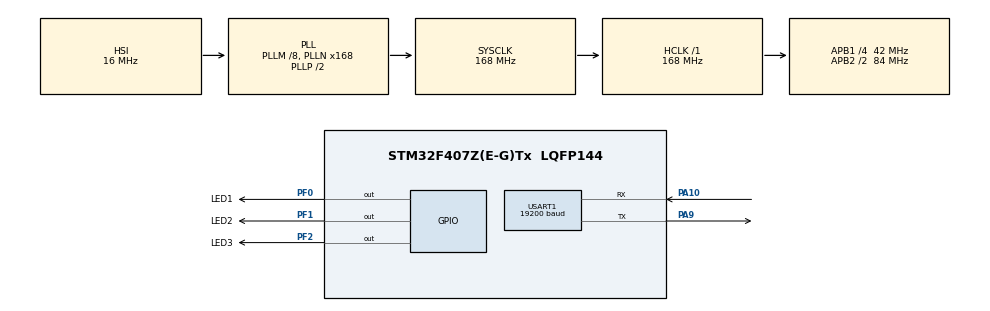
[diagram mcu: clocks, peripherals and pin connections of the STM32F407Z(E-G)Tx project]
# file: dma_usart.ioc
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Dma.Request0=USART1_TX
Dma.USART1_TX.0.Direction=DMA_MEMORY_TO_PERIPH
Dma.USART1_TX.0.FIFOMode=DMA_FIFOMODE_DISABLE
Dma.USART1_TX.0.Instance=DMA2_Stream7
Dma.USART1_TX.0.MemDataAlignment=DMA_MDATAALIGN_BYTE
Dma.USART1_TX.0.MemInc=DMA_MINC_ENABLE
Dma.USART1_TX.0.Mode=DMA_CIRCULAR
Dma.USART1_TX.0.PeriphDataAlignment=DMA_PDATAALIGN_BYTE
Dma.USART1_TX.0.PeriphInc=DMA_PINC_DISABLE
Dma.USART1_TX.0.Priority=DMA_PRIORITY_HIGH
Mcu.Family=STM32F4
Mcu.Name=STM32F407Z(E-G)Tx
Mcu.Package=LQFP144
NVIC.DMA2_Stream7_IRQn=true\:0\:0\:false\:false\:true\:false\:true\:true
NVIC.PriorityGroup=NVIC_PRIORITYGROUP_4
NVIC.USART1_IRQn=true\:0\:0\:false\:false\:true\:true\:true\:true
PA10.Mode=Asynchronous
PA10.Signal=USART1_RX
PA9.Mode=Asynchronous
PA9.Signal=USART1_TX
PF0.GPIO_Label=LED1
PF0.PinState=GPIO_PIN_SET
PF0.Signal=GPIO_Output
PF1.GPIO_Label=LED2
PF1.PinState=GPIO_PIN_SET
PF1.Signal=GPIO_Output
PF2.GPIO_Label=LED3
PF2.PinState=GPIO_PIN_SET
PF2.Signal=GPIO_Output
PH0-OSC_IN.Mode=HSE-External-Oscillator
PH0-OSC_IN.Signal=RCC_OSC_IN
PH1-OSC_OUT.Mode=HSE-External-Oscillator
PH1-OSC_OUT.Signal=RCC_OSC_OUT
ProjectManager.HeapSize=0x200
ProjectManager.StackSize=0x400
ProjectManager.TargetToolchain=MDK-ARM V5
RCC.48MHZClocksFreq_Value=84000000
RCC.AHBFreq_Value=168000000
RCC.APB1CLKDivider=RCC_HCLK_DIV4
RCC.APB1Freq_Value=42000000
RCC.APB1TimFreq_Value=84000000
RCC.APB2CLKDivider=RCC_HCLK_DIV2
RCC.APB2Freq_Value=84000000
RCC.APB2TimFreq_Value=168000000
RCC.CortexFreq_Value=168000000
RCC.HCLKFreq_Value=168000000
RCC.HSE_VALUE=25000000
RCC.HSI_VALUE=16000000
RCC.LSE_VALUE=32768
RCC.PLLM=8
RCC.PLLN=168
RCC.SYSCLKFreq_VALUE=168000000
RCC.SYSCLKSource=RCC_SYSCLKSOURCE_PLLCLK
RCC.VCOOutputFreq_Value=336000000
USART1.BaudRate=19200
USART1.VirtualMode=VM_ASYNC
board=custom

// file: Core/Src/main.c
/* USER CODE BEGIN Header */
/**
  ******************************************************************************
  * @file           : main.c
  * @brief          : Main program body
  ******************************************************************************
  * @attention
  *
  * Copyright (c) 2022 STMicroelectronics.
  * All rights reserved.
  *
  * This software is licensed under terms that can be found in the LICENSE file
  * in the root directory of this software component.
  * If no LICENSE file comes with this software, it is provided AS-IS.
  *
  ******************************************************************************
  */
/* USER CODE END Header */
#include "main.h"

/* USER CODE BEGIN PTD */
uint8_t aRxBuffer=0;
uint8_t aTxBuffer[128];
/* USER CODE END PTD */

/* USER CODE BEGIN PD */
#define SENDBUFF_SIZE 128
#define OK_ON HAL_GPIO_WritePin(LED1_GPIO_Port,LED1_Pin,GPIO_PIN_RESET);HAL_GPIO_WritePin(LED2_GPIO_Port,LED2_Pin,GPIO_PIN_SET);HAL_GPIO_WritePin(LED3_GPIO_Port,LED3_Pin,GPIO_PIN_SET)
#define ERR_ON HAL_GPIO_WritePin(LED1_GPIO_Port,LED1_Pin,GPIO_PIN_SET);HAL_GPIO_WritePin(LED2_GPIO_Port,LED2_Pin,GPIO_PIN_RESET);HAL_GPIO_WritePin(LED3_GPIO_Port,LED3_Pin,GPIO_PIN_SET)
#define UNSENT_ON HAL_GPIO_WritePin(LED1_GPIO_Port,LED1_Pin,GPIO_PIN_SET);HAL_GPIO_WritePin(LED2_GPIO_Port,LED2_Pin,GPIO_PIN_SET);HAL_GPIO_WritePin(LED3_GPIO_Port,LED3_Pin,GPIO_PIN_RESET)
#define OK_OFF HAL_GPIO_WritePin(LED1_GPIO_Port,LED1_Pin,GPIO_PIN_SET);
/* USER CODE END PD */

 UART_HandleTypeDef huart1;
DMA_HandleTypeDef hdma_usart1_tx;

void SystemClock_Config(void);
static void MX_GPIO_Init(void);
static void MX_DMA_Init(void);
static void MX_USART1_UART_Init(void);

int main(void)
{
  /* USER CODE BEGIN 1 */
	uint16_t i=0;
  /* USER CODE END 1 */

  /* MCU Configuration--------------------------------------------------------*/

  /* Reset of all peripherals, Initializes the Flash interface and the Systick. */
  HAL_Init();

  /* Configure the system clock */
  SystemClock_Config();

  /* Initialize all configured peripherals */
  MX_GPIO_Init();
  MX_DMA_Init();
  MX_USART1_UART_Init();
  /* USER CODE BEGIN 2 */
	for(i=0;i<SENDBUFF_SIZE;i++){
		aTxBuffer[i]='Y';
	}
	HAL_UART_Receive_IT(&huart1,&aRxBuffer,1);
	HAL_UART_Transmit_DMA(&huart1,aTxBuffer,SENDBUFF_SIZE);
  /* USER CODE END 2 */

  /* Infinite loop */
  while (1)
  {
		OK_ON;
		HAL_Delay(500);
		OK_OFF;
		HAL_Delay(500);
  }
}

void SystemClock_Config(void)
{
  RCC_OscInitTypeDef RCC_OscInitStruct = {0};
  RCC_ClkInitTypeDef RCC_ClkInitStruct = {0};

  /** Configure the main internal regulator output voltage
  */
  __HAL_RCC_PWR_CLK_ENABLE();
  __HAL_PWR_VOLTAGESCALING_CONFIG(PWR_REGULATOR_VOLTAGE_SCALE1);

  /** Initializes the RCC Oscillators according to the specified parameters
  * in the RCC_OscInitTypeDef structure.
  */
  RCC_OscInitStruct.OscillatorType = RCC_OSCILLATORTYPE_HSI;
  RCC_OscInitStruct.HSIState = RCC_HSI_ON;
  RCC_OscInitStruct.HSICalibrationValue = RCC_HSICALIBRATION_DEFAULT;
  RCC_OscInitStruct.PLL.PLLState = RCC_PLL_ON;
  RCC_OscInitStruct.PLL.PLLSource = RCC_PLLSOURCE_HSI;
  RCC_OscInitStruct.PLL.PLLM = 8;
  RCC_OscInitStruct.PLL.PLLN = 168;
  RCC_OscInitStruct.PLL.PLLP = RCC_PLLP_DIV2;
  RCC_OscInitStruct.PLL.PLLQ = 4;
  if (HAL_RCC_OscConfig(&RCC_OscInitStruct) != HAL_OK)
  {
    Error_Handler();
  }

  /** Initializes the CPU, AHB and APB buses clocks
  */
  RCC_ClkInitStruct.ClockType = RCC_CLOCKTYPE_HCLK|RCC_CLOCKTYPE_SYSCLK
                              |RCC_CLOCKTYPE_PCLK1|RCC_CLOCKTYPE_PCLK2;
  RCC_ClkInitStruct.SYSCLKSource = RCC_SYSCLKSOURCE_PLLCLK;
  RCC_ClkInitStruct.AHBCLKDivider = RCC_SYSCLK_DIV1;
  RCC_ClkInitStruct.APB1CLKDivider = RCC_HCLK_DIV4;
  RCC_ClkInitStruct.APB2CLKDivider = RCC_HCLK_DIV2;

  if (HAL_RCC_ClockConfig(&RCC_ClkInitStruct, FLASH_LATENCY_5) != HAL_OK)
  {
    Error_Handler();
  }
}

static void MX_USART1_UART_Init(void)
{

  huart1.Instance = USART1;
  huart1.Init.BaudRate = 19200;
  huart1.Init.WordLength = UART_WORDLENGTH_8B;
  huart1.Init.StopBits = UART_STOPBITS_1;
  huart1.Init.Parity = UART_PARITY_NONE;
  huart1.Init.Mode = UART_MODE_TX_RX;
  huart1.Init.HwFlowCtl = UART_HWCONTROL_NONE;
  huart1.Init.OverSampling = UART_OVERSAMPLING_16;
  if (HAL_UART_Init(&huart1) != HAL_OK)
  {
    Error_Handler();
  }

}

static void MX_DMA_Init(void)
{

  /* DMA controller clock enable */
  __HAL_RCC_DMA2_CLK_ENABLE();

  /* DMA interrupt init */
  /* DMA2_Stream7_IRQn interrupt configuration */
  HAL_NVIC_SetPriority(DMA2_Stream7_IRQn, 0, 0);
  HAL_NVIC_EnableIRQ(DMA2_Stream7_IRQn);

}

static void MX_GPIO_Init(void)
{
  GPIO_InitTypeDef GPIO_InitStruct = {0};

  /* GPIO Ports Clock Enable */
  __HAL_RCC_GPIOF_CLK_ENABLE();
  __HAL_RCC_GPIOH_CLK_ENABLE();
  __HAL_RCC_GPIOA_CLK_ENABLE();

  /*Configure GPIO pin Output Level */
  HAL_GPIO_WritePin(GPIOF, GPIO_PIN_0|GPIO_PIN_1|GPIO_PIN_2, GPIO_PIN_SET);

  /*Configure GPIO pins : PF0 PF1 PF2 */
  GPIO_InitStruct.Pin = GPIO_PIN_0|GPIO_PIN_1|GPIO_PIN_2;
  GPIO_InitStruct.Mode = GPIO_MODE_OUTPUT_PP;
  GPIO_InitStruct.Pull = GPIO_NOPULL;
  GPIO_InitStruct.Speed = GPIO_SPEED_FREQ_LOW;
  HAL_GPIO_Init(GPIOF, &GPIO_InitStruct);

}

/* USER CODE BEGIN 4 */
void HAL_UART_RxCpltCallback(UART_HandleTypeDef * UartHandle){
	HAL_UART_Transmit(&huart1,&aRxBuffer,1,0);
	HAL_UART_Receive_IT(&huart1,&aRxBuffer,1);
}
/* USER CODE END 4 */

void Error_Handler(void)
{
  __disable_irq();
  while (1)
  {
  }
}
